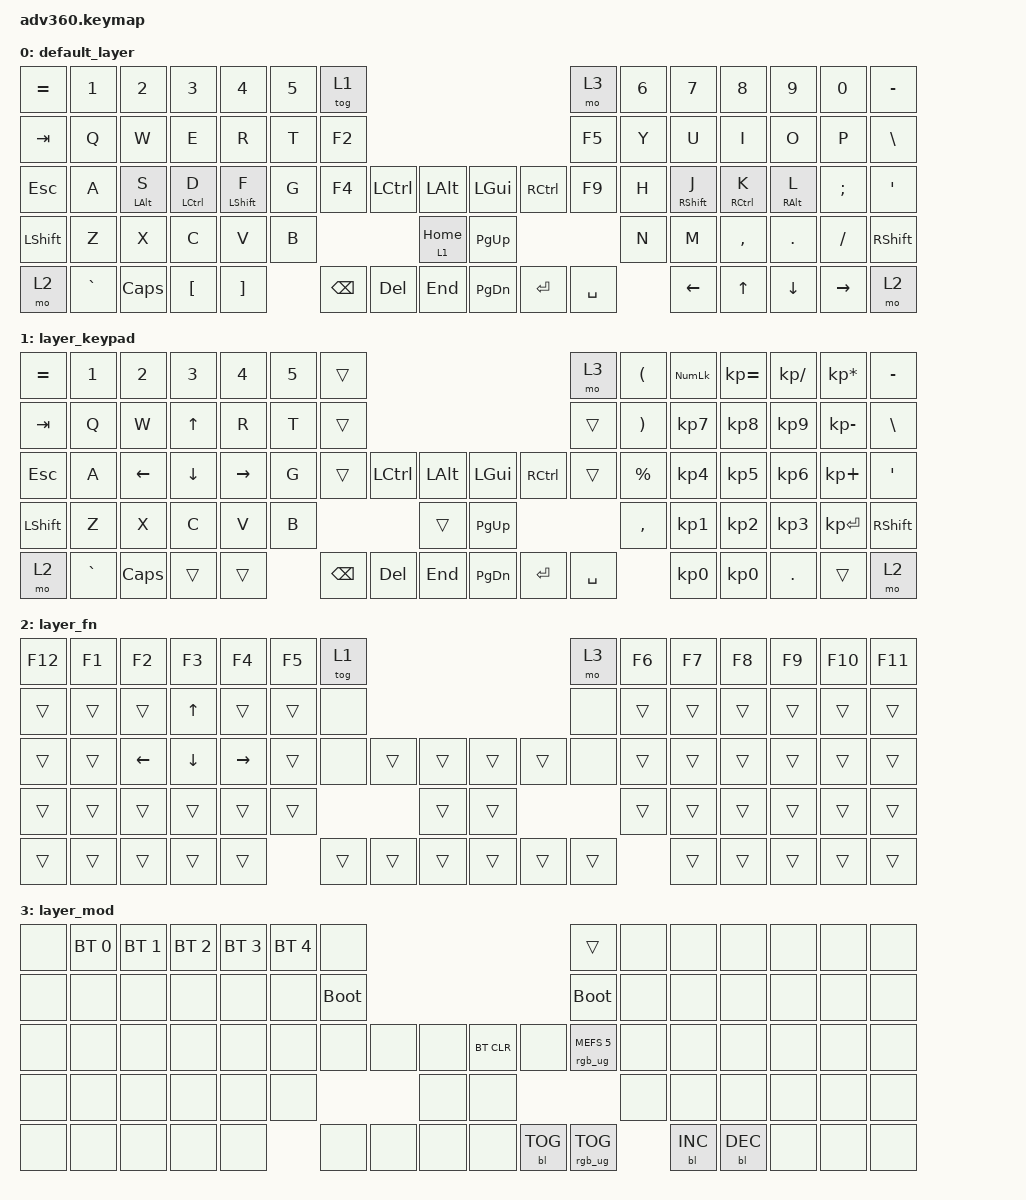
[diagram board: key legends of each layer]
/*
 * Copyright (c) 2020 The ZMK Contributors
 *
 * SPDX-License-Identifier: MIT
 */
/* THIS FILE WAS GENERATED!
 *
 * This file was generated automatically. You may or may not want to
 * edit it directly.
 */

#include <behaviors.dtsi>
#include <dt-bindings/zmk/backlight.h>
#include <dt-bindings/zmk/bt.h>
#include <dt-bindings/zmk/keys.h>
#include <dt-bindings/zmk/rgb.h>

/ {
    behaviors {
        #include "macros.dtsi"

        hm: homerow_mods {
            compatible = "zmk,behavior-hold-tap";
            label = "HOMEROW_MODS";
            #binding-cells = <2>;
            tapping-term-ms = <200>;
            quick_tap_ms = <175>;
            flavor = "tap-preferred";
            bindings = <&kp>, <&kp>;
        };
    };

    keymap {
        compatible = "zmk,keymap";

        default_layer {
            bindings = <
&kp EQUAL  &kp N1     &kp N2      &kp N3       &kp N4       &kp N5  &tog 1                                                     &mo 3      &kp N6  &kp N7       &kp N8       &kp N9      &kp N0     &kp MINUS
&kp TAB    &kp Q      &kp W       &kp E        &kp R        &kp T   &kp F2                                                     &kp F5     &kp Y   &kp U        &kp I        &kp O       &kp P      &kp BSLH
&kp ESC    &kp A      &hm LALT S  &hm LCTRL D  &hm LSHFT F  &kp G   &kp F4    &kp LCTRL  &kp LALT        &kp LGUI   &kp RCTRL  &kp F9     &kp H   &hm RSHFT J  &hm RCTRL K  &hm RALT L  &kp SEMI   &kp SQT
&kp LSHFT  &kp Z      &kp X       &kp C        &kp V        &kp B                        &lt 1 HOME      &kp PG_UP                        &kp N   &kp M        &kp COMMA    &kp DOT     &kp FSLH   &kp RSHFT
&mo 2      &kp GRAVE  &kp CAPS    &kp LBKT     &kp RBKT             &kp BSPC  &kp DEL    &kp END         &kp PG_DN  &kp ENTER  &kp SPACE          &kp LEFT     &kp UP       &kp DOWN    &kp RIGHT  &mo 2
            >;
        };

        layer_keypad {
            bindings = <
&kp EQUAL  &kp N1     &kp N2    &kp N3    &kp N4     &kp N5  &trans                                                   &mo 3      &kp LEFT_PARENTHESIS   &kp KP_NUM       &kp KP_EQUAL  &kp KP_DIVIDE  &kp KP_MULTIPLY  &kp MINUS
&kp TAB    &kp Q      &kp W     &kp UP    &kp R      &kp T   &trans                                                   &trans     &kp RIGHT_PARENTHESIS  &kp KP_N7        &kp KP_N8     &kp KP_N9      &kp KP_MINUS     &kp BSLH
&kp ESC    &kp A      &kp LEFT  &kp DOWN  &kp RIGHT  &kp G   &trans    &kp LCTRL  &kp LALT      &kp LGUI   &kp RCTRL  &trans     &kp PERCENT            &kp KP_N4        &kp KP_N5     &kp KP_N6      &kp KP_PLUS      &kp SQT
&kp LSHFT  &kp Z      &kp X     &kp C     &kp V      &kp B                        &trans        &kp PG_UP                        &kp COMMA              &kp KP_N1        &kp KP_N2     &kp KP_N3      &kp KP_ENTER     &kp RSHFT
&mo 2      &kp GRAVE  &kp CAPS  &trans    &trans             &kp BSPC  &kp DEL    &kp END       &kp PG_DN  &kp ENTER  &kp SPACE                         &kp KP_NUMBER_0  &kp KP_N0     &kp DOT        &trans           &mo 2
            >;
        };

        layer_fn {
            bindings = <
&kp F12  &kp F1  &kp F2    &kp F3    &kp F4     &kp F5  &tog 1                                      &mo 3   &kp F6  &kp F7  &kp F8  &kp F9  &kp F10  &kp F11
&trans   &trans  &trans    &kp UP    &trans     &trans  &none                                       &none   &trans  &trans  &trans  &trans  &trans   &trans
&trans   &trans  &kp LEFT  &kp DOWN  &kp RIGHT  &trans  &none   &trans  &trans      &trans  &trans  &none   &trans  &trans  &trans  &trans  &trans   &trans
&trans   &trans  &trans    &trans    &trans     &trans                  &trans      &trans                  &trans  &trans  &trans  &trans  &trans   &trans
&trans   &trans  &trans    &trans    &trans             &trans  &trans  &trans      &trans  &trans  &trans          &trans  &trans  &trans  &trans   &trans
            >;
        };

        layer_mod {
            bindings = <
&none  &bt BT_SEL 0  &bt BT_SEL 1  &bt BT_SEL 2  &bt BT_SEL 3  &bt BT_SEL 4  &none                                                  &trans                  &none  &none       &none       &none  &none  &none
&none  &none         &none         &none         &none         &none         &bootloader                                            &bootloader             &none  &none       &none       &none  &none  &none
&none  &none         &none         &none         &none         &none         &none        &none  &none      &bt BT_CLR  &none       &rgb_ug RGB_MEFS_CMD 5  &none  &none       &none       &none  &none  &none
&none  &none         &none         &none         &none         &none                             &none      &none                                           &none  &none       &none       &none  &none  &none
&none  &none         &none         &none         &none                       &none        &none  &none      &none       &bl BL_TOG  &rgb_ug RGB_TOG                &bl BL_INC  &bl BL_DEC  &none  &none  &none
            >;
        };
    };
};
